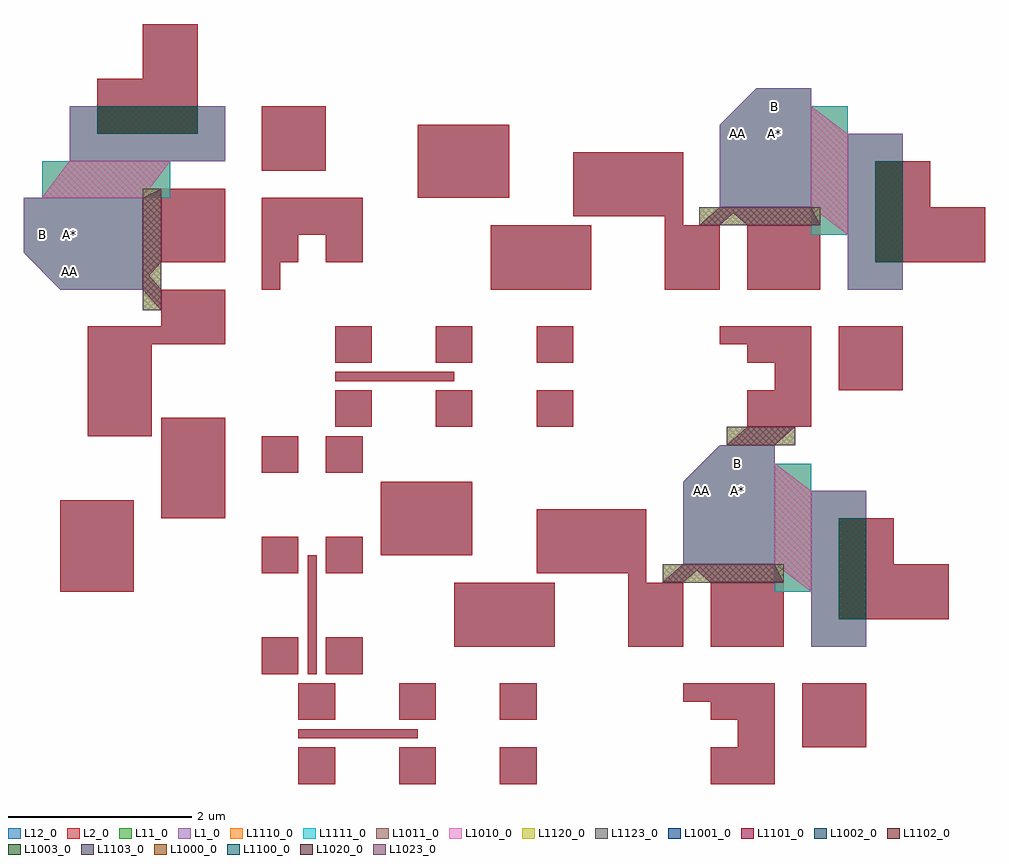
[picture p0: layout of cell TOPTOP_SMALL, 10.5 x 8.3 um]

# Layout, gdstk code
from math import pi, radians
import gdstk
lib = gdstk.Library(unit=1e-6, precision=1e-09)
def R(c, l, rs):  # rectangles x0, y0, x1, y1
    for r in rs: c.add(gdstk.rectangle(r[:2], r[2:], *l))
def A(c, l, x, y, w, h, nx, ny, dx, dy):  # array of equal rectangles
    R(c, l, [(x+i*dx, y+j*dy, x+i*dx+w, y+j*dy+h) for i in range(nx) for j in range(ny)])
def P(c, l, *ps):  # polygons
    for p in ps: c.add(gdstk.Polygon(p, *l))
L1_0 = (1, 0)
L2_0 = (2, 0)
L11_0 = (11, 0)
L12_0 = (12, 0)
L1000_0 = (1000, 0)
L1001_0 = (1001, 0)
L1002_0 = (1002, 0)
L1003_0 = (1003, 0)
L1010_0 = (1010, 0)
L1011_0 = (1011, 0)
L1020_0 = (1020, 0)
L1023_0 = (1023, 0)
L1100_0 = (1100, 0)
L1101_0 = (1101, 0)
L1102_0 = (1102, 0)
L1103_0 = (1103, 0)
L1110_0 = (1110, 0)
L1111_0 = (1111, 0)
L1120_0 = (1120, 0)
L1123_0 = (1123, 0)

top = lib.new_cell('TOP')
R(top, L1_0, [(-0.2,-4,0.4,-2.3)])
P(top, L1_0, [(-1.6,-3.1),(-1.6,-2.2),(-1.2,-1.8),(-0.6,-1.8),(-0.6,-3.1)])
A(top, L2_0, -5.8, -5.5, 0.4, 0.4, 3, 2, 1.1, 0.7)
R(top, L2_0, [(-0.3,-5.1,0.4,-4.4), (-5.8,-5,-4.5,-4.9), (-4.1,-4,-3,-3.3), (-1.3,-4,-0.5,-3.3), (-4.9,-3,-3.9,-2.2)])
P(top, L2_0, [(-2.2,-4),(-2.2,-3.2),(-3.2,-3.2),(-3.2,-2.5),(-2,-2.5),(-2,-3.3),(-1.6,-3.3),(-1.6,-4)],
  [(-1.3,-5.5),(-1.3,-5.1),(-1,-5.1),(-1,-4.8),(-1.3,-4.8),(-1.3,-4.6),(-1.6,-4.6),(-1.6,-4.4),(-0.6,-4.4),(-0.6,-5.5)],
  [(0.1,-3.7),(0.1,-2.6),(0.7,-2.6),(0.7,-3.1),(1.3,-3.1),(1.3,-3.7)])
R(top, L1000_0, [(0.1,-3.7,0.4,-2.6)])
P(top, L1010_0, [(-0.201,-3.401),(-0.599,-3.101),(-0.599,-1.999),(-0.201,-2.299)])
P(top, L1020_0, [(-1.825,-3.299),(-1.601,-3.101),(-1.375,-3.101),(-1.599,-3.299)],
  [(-1.301,-3.299),(-1.525,-3.101),(-0.599,-3.101),(-0.499,-3.299)])
R(top, L1100_0, [(0.1,-3.7,0.4,-2.6)])
top.add(gdstk.Label('B', (-1,-2), layer=1, texttype=0))
top.add(gdstk.Label('A*', (-1,-2.3), layer=1, texttype=0))
top.add(gdstk.Label('AA', (-1.4,-2.3), layer=1, texttype=0))

toptop_small = lib.new_cell('TOPTOP_SMALL')
R(toptop_small, L11_0, [(5.6,1.5,6.2,3.2), (6,5.4,6.6,7.1), (-2.5,6.8,-0.8,7.4)])
P(toptop_small, L11_0, [(-2.6,5.4),(-3,5.8),(-3,6.4),(-1.7,6.4),(-1.7,5.4)],
  [(4.2,2.4),(4.2,3.3),(4.6,3.7),(5.2,3.7),(5.2,2.4)],
  [(4.6,6.3),(4.6,7.2),(5,7.6),(5.6,7.6),(5.6,6.3)])
A(toptop_small, L12_0, 0, 0, 0.4, 0.4, 3, 2, 1.1, 0.7)
A(toptop_small, L12_0, -0.4, 1.2, 0.4, 0.4, 1, 3, 0, 1.1)
A(toptop_small, L12_0, 0.3, 1.2, 0.4, 0.4, 1, 3, 0, 1.1)
A(toptop_small, L12_0, 0.4, 3.9, 0.4, 0.4, 3, 2, 1.1, 0.7)
R(toptop_small, L12_0, [(5.5,0.4,6.2,1.1), (0,0.5,1.3,0.6), (0.1,1.2,0.2,2.5), (1.7,1.5,2.8,2.2), (4.5,1.5,5.3,2.2), (-2.6,2.1,-1.8,3.1), (0.9,2.5,1.9,3.3), (-1.5,2.9,-0.8,4), (5.9,4.3,6.6,5), (0.4,4.4,1.7,4.5), (2.1,5.4,3.2,6.1), (4.9,5.4,5.7,6.1), (-1.5,5.7,-0.8,6.5), (1.3,6.4,2.3,7.2), (-0.4,6.7,0.3,7.4)])
P(toptop_small, L12_0, [(-2.3,3.8),(-2.3,5),(-1.5,5),(-1.5,5.4),(-0.8,5.4),(-0.8,4.8),(-1.6,4.8),(-1.6,3.8)],
  [(4.5,0),(4.5,0.4),(4.8,0.4),(4.8,0.7),(4.5,0.7),(4.5,0.9),(4.2,0.9),(4.2,1.1),(5.2,1.1),(5.2,0)],
  [(4.9,3.9),(4.9,4.3),(5.2,4.3),(5.2,4.6),(4.9,4.6),(4.9,4.8),(4.6,4.8),(4.6,5),(5.6,5),(5.6,3.9)],
  [(5.9,1.8),(5.9,2.9),(6.5,2.9),(6.5,2.4),(7.1,2.4),(7.1,1.8)],
  [(6.3,5.7),(6.3,6.8),(6.9,6.8),(6.9,6.3),(7.5,6.3),(7.5,5.7)],
  [(3.6,1.5),(3.6,2.3),(2.6,2.3),(2.6,3),(3.8,3),(3.8,2.2),(4.2,2.2),(4.2,1.5)],
  [(4,5.4),(4,6.2),(3,6.2),(3,6.9),(4.2,6.9),(4.2,6.1),(4.6,6.1),(4.6,5.4)],
  [(-0.4,5.4),(-0.4,6.4),(0.7,6.4),(0.7,5.7),(0.3,5.7),(0.3,6),(0,6),(0,5.7),(-0.2,5.7),(-0.2,5.4)],
  [(-2.2,7.1),(-2.2,7.7),(-1.7,7.7),(-1.7,8.3),(-1.1,8.3),(-1.1,7.1)])
R(toptop_small, L1001_0, [(5.9,1.8,6.2,2.9), (6.3,5.7,6.6,6.8), (-2.2,7.1,-1.1,7.4)])
R(toptop_small, L1002_0, [(5.9,1.8,6.2,2.9), (6.3,5.7,6.6,6.8), (-2.2,7.1,-1.1,7.4)])
R(toptop_small, L1003_0, [(5.9,1.8,6.2,2.9), (6.3,5.7,6.6,6.8), (-2.2,7.1,-1.1,7.4)])
P(toptop_small, L1011_0, [(-2.801,6.401),(-2.501,6.799),(-1.399,6.799),(-1.699,6.401)],
  [(5.599,2.099),(5.201,2.399),(5.201,3.501),(5.599,3.201)],
  [(5.999,5.999),(5.601,6.299),(5.601,7.401),(5.999,7.101)])
P(toptop_small, L1020_0, [(4.675,3.701),(4.899,3.899),(5.425,3.899),(5.201,3.701)])
P(toptop_small, L1023_0, [(4.499,2.201),(4.275,2.399),(5.201,2.399),(5.301,2.201)],
  [(4.899,6.101),(4.675,6.299),(5.601,6.299),(5.701,6.101)],
  [(4.675,3.701),(4.899,3.899),(5.425,3.899),(5.201,3.701)],
  [(-1.699,5.475),(-1.699,6.401),(-1.501,6.501),(-1.501,5.699)],
  [(3.975,2.201),(4.199,2.399),(4.425,2.399),(4.201,2.201)],
  [(4.375,6.101),(4.599,6.299),(4.825,6.299),(4.601,6.101)],
  [(-1.501,5.175),(-1.699,5.399),(-1.699,5.625),(-1.501,5.401)])
R(toptop_small, L1101_0, [(5.9,1.8,6.2,2.9), (6.3,5.7,6.6,6.8), (-2.2,7.1,-1.1,7.4)])
R(toptop_small, L1102_0, [(5.9,1.8,6.2,2.9), (6.3,5.7,6.6,6.8), (-2.2,7.1,-1.1,7.4)])
R(toptop_small, L1103_0, [(5.9,1.8,6.2,2.9), (6.3,5.7,6.6,6.8), (-2.2,7.1,-1.1,7.4)])
R(toptop_small, L1110_0, [(5.2,2.1,5.6,3.5), (5.6,6,6,7.4), (-2.8,6.4,-1.4,6.8)])
R(toptop_small, L1111_0, [(5.2,2.1,5.6,3.5), (5.6,6,6,7.4), (-2.8,6.4,-1.4,6.8)])
R(toptop_small, L1120_0, [(3.976,2.2,4.424,2.4), (4.276,2.2,5.3,2.4), (4.676,3.7,5.424,3.9), (-1.7,5.176,-1.5,5.624), (-1.7,5.476,-1.5,6.5), (4.376,6.1,4.824,6.3), (4.676,6.1,5.7,6.3)])
R(toptop_small, L1123_0, [(3.976,2.2,4.424,2.4), (4.276,2.2,5.3,2.4), (4.676,3.7,5.424,3.9), (-1.7,5.176,-1.5,5.624), (-1.7,5.476,-1.5,6.5), (4.376,6.1,4.824,6.3), (4.676,6.1,5.7,6.3)])
toptop_small.add(gdstk.Reference(top, (-4.8,7), rotation=pi/2))
toptop_small.add(gdstk.Reference(top, (5.8,5.5)))
toptop_small.add(gdstk.Reference(top, (6.2,9.4)))
toptop_small.add(gdstk.Label('B', (-2.8,6), layer=11, texttype=0))
toptop_small.add(gdstk.Label('A*', (-2.5,6), layer=11, texttype=0))
toptop_small.add(gdstk.Label('AA', (4.4,3.2), layer=11, texttype=0))
toptop_small.add(gdstk.Label('AA', (4.8,7.1), layer=11, texttype=0))
toptop_small.add(gdstk.Label('B', (4.8,3.5), layer=11, texttype=0))
toptop_small.add(gdstk.Label('B', (5.2,7.4), layer=11, texttype=0))
toptop_small.add(gdstk.Label('A*', (4.8,3.2), layer=11, texttype=0))
toptop_small.add(gdstk.Label('A*', (5.2,7.1), layer=11, texttype=0))
toptop_small.add(gdstk.Label('AA', (-2.5,5.6), layer=11, texttype=0))

lib.write_gds('TOPTOP_SMALL.gds')
